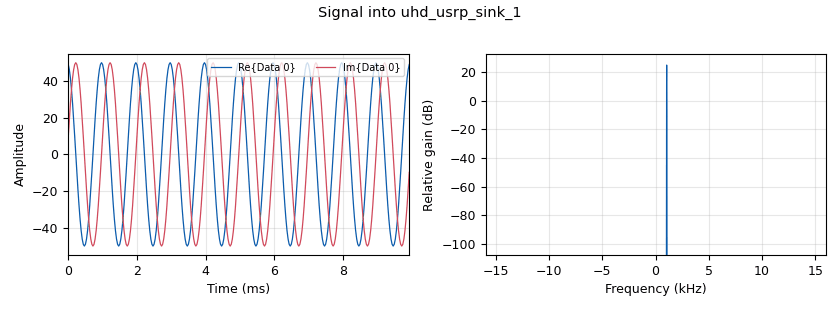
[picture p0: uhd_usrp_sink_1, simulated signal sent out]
options:
  parameters:
    author: AdrianaLaRotta_Jairo_Sanchez
    copyright: UIS
    generate_options: qt_gui
    id: practica2
    output_language: python
    title: configuracionUSRP
  states: {}

blocks:
- name: A
  id: variable_qtgui_range
  parameters:
    label: Amplitud señal Tx
    start: '0'
    step: '1'
    stop: '100'
    value: '50'
  states: {}
- name: GTX
  id: variable_qtgui_range
  parameters:
    label: ganancia del Tx
    start: '0'
    step: '1'
    stop: '100'
    value: '50'
  states: {}
- name: fc
  id: variable_qtgui_range
  parameters:
    label: Frecuencia portadora
    start: '0'
    step: '1'
    stop: '100'
    value: '50'
  states: {}
- name: samp_rate
  id: variable
  parameters:
    value: '32000'
  states: {}
- name: analog_sig_source_x_0
  id: analog_sig_source_x
  parameters:
    amp: A
    freq: '1000'
    offset: '0'
    phase: '0'
    samp_rate: samp_rate
    type: complex
    waveform: analog.GR_COS_WAVE
  states: {}
- name: uhd_usrp_sink_1
  id: uhd_usrp_sink
  parameters:
    ant0: '"TX/RX"'
    center_freq0: fc
    gain0: '0'
    samp_rate: samp_rate
    sync: pc_clock
    type: fc32
  states: {}

connections:
- [analog_sig_source_x_0, '0', uhd_usrp_sink_1, '0']

metadata:
  file_format: 1
